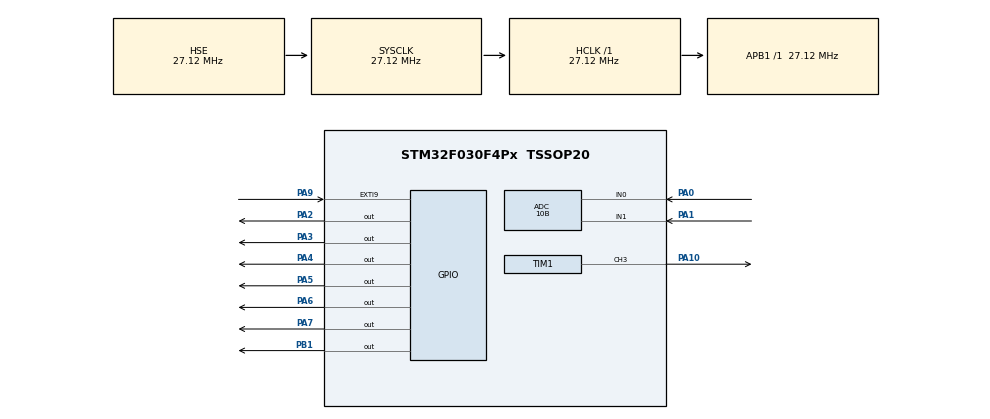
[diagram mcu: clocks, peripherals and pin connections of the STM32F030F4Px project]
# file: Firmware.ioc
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ADC.ClockPrescaler=ADC_CLOCK_SYNC_PCLK_DIV4
ADC.ContinuousConvMode=DISABLE
ADC.DMAContinuousRequests=DISABLE
ADC.DataAlign=ADC_DATAALIGN_RIGHT
ADC.DiscontinuousConvMode=DISABLE
ADC.EOCSelection=ADC_EOC_SINGLE_CONV
ADC.EnableAnalogWatchDog=false
ADC.ExternalTrigConv=ADC_SOFTWARE_START
ADC.ExternalTrigConvEdge=ADC_EXTERNALTRIGCONVEDGE_NONE
ADC.LowPowerAutoPowerOff=DISABLE
ADC.LowPowerAutoWait=DISABLE
ADC.Overrun=ADC_OVR_DATA_PRESERVED
ADC.Resolution=ADC_RESOLUTION_10B
ADC.SamplingTime=ADC_SAMPLETIME_71CYCLES_5
ADC.ScanConvMode=ADC_SCAN_DIRECTION_FORWARD
IWDG.Prescaler=IWDG_PRESCALER_4
IWDG.Reload=2048
Mcu.Family=STM32F0
Mcu.Name=STM32F030F4Px
Mcu.Package=TSSOP20
NVIC.EXTI4_15_IRQn=true\:3\:0\:true\:false\:true\:true
NVIC.TIM17_IRQn=true\:0\:0\:false\:false\:true\:true
PA0.Mode=IN0
PA0.Signal=ADC_IN0
PA1.Mode=IN1
PA1.Signal=ADC_IN1
PA10.GPIO_PuPd=GPIO_NOPULL
PA10.GPIO_Speed=GPIO_SPEED_FREQ_MEDIUM
PA10.Signal=S_TIM1_CH3
PA2.Signal=GPIO_Output
PA3.Signal=GPIO_Output
PA4.Signal=GPIO_Output
PA5.Signal=GPIO_Output
PA6.Signal=GPIO_Output
PA7.Signal=GPIO_Output
PA9.GPIO_ModeDefaultEXTI=GPIO_MODE_IT_RISING_FALLING
PA9.Signal=GPXTI9
PB1.Signal=GPIO_Output
PF0-OSC_IN.Mode=HSE-External-Oscillator
PF0-OSC_IN.Signal=RCC_OSC_IN
PF1-OSC_OUT.Mode=HSE-External-Oscillator
PF1-OSC_OUT.Signal=RCC_OSC_OUT
ProjectManager.HeapSize=0x200
ProjectManager.StackSize=0x400
ProjectManager.TargetToolchain=EWARM
RCC.AHBFreq_Value=27120000
RCC.APB1Freq_Value=27120000
RCC.APB1TimFreq_Value=27120000
RCC.EnbaleCSS=true
RCC.HCLKFreq_Value=27120000
RCC.HSE_VALUE=27120000
RCC.PLLSourceVirtual=RCC_PLLSOURCE_HSE
RCC.SYSCLKFreq_VALUE=27120000
RCC.SYSCLKSource=RCC_SYSCLKSOURCE_HSE
SH.S_TIM1_CH3.0=TIM1_CH3,PWM Generation3 CH3
TIM1.BreakPolarity=TIM_BREAKPOLARITY_HIGH
TIM1.BreakState=TIM_BREAK_ENABLE
TIM1.Channel-PWM\ Generation3\ CH3=TIM_CHANNEL_3
TIM1.LockLevel=TIM_LOCKLEVEL_3
TIM1.OCIdleState_3=TIM_OCIDLESTATE_RESET
TIM1.OCMode_PWM-PWM\ Generation3\ CH3=TIM_OCMODE_PWM2
TIM1.OCPolarity_3=TIM_OCPOLARITY_HIGH
TIM1.OffStateIDLEMode=TIM_OSSI_ENABLE
TIM1.OffStateRunMode=TIM_OSSR_DISABLE
TIM1.Period=1
TIM1.Pulse-PWM\ Generation3\ CH3=1
TIM17.Period=8135
TIM17.Prescaler=0
VP_IWDG_VS_IWDG.Mode=IWDG_Activate
VP_TIM17_VS_ClockSourceINT.Mode=Enable_Timer
VP_TIM17_VS_OPM.Mode=OPM_bit
board=Firmware

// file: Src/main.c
/**
  ******************************************************************************
  * @file           : main.c
  * @brief          : Main program body
  ******************************************************************************
  ** This notice applies to any and all portions of this file
  * that are not between comment pairs USER CODE BEGIN and
  * USER CODE END. Other portions of this file, whether
  * inserted by the user or by software development tools
  * are owned by their respective copyright owners.
  *
  * COPYRIGHT(c) 2018 STMicroelectronics
  *
  * Redistribution and use in source and binary forms, with or without modification,
  * are permitted provided that the following conditions are met:
  *   1. Redistributions of source code must retain the above copyright notice,
  *      this list of conditions and the following disclaimer.
  *   2. Redistributions in binary form must reproduce the above copyright notice,
  *      this list of conditions and the following disclaimer in the documentation
  *      and/or other materials provided with the distribution.
  *   3. Neither the name of STMicroelectronics nor the names of its contributors
  *      may be used to endorse or promote products derived from this software
  *      without specific prior written permission.
  *
  * THIS SOFTWARE IS PROVIDED BY THE COPYRIGHT HOLDERS AND CONTRIBUTORS "AS IS"
  * AND ANY EXPRESS OR IMPLIED WARRANTIES, INCLUDING, BUT NOT LIMITED TO, THE
  * IMPLIED WARRANTIES OF MERCHANTABILITY AND FITNESS FOR A PARTICULAR PURPOSE ARE
  * DISCLAIMED. IN NO EVENT SHALL THE COPYRIGHT HOLDER OR CONTRIBUTORS BE LIABLE
  * FOR ANY DIRECT, INDIRECT, INCIDENTAL, SPECIAL, EXEMPLARY, OR CONSEQUENTIAL
  * DAMAGES (INCLUDING, BUT NOT LIMITED TO, PROCUREMENT OF SUBSTITUTE GOODS OR
  * SERVICES; LOSS OF USE, DATA, OR PROFITS; OR BUSINESS INTERRUPTION) HOWEVER
  * CAUSED AND ON ANY THEORY OF LIABILITY, WHETHER IN CONTRACT, STRICT LIABILITY,
  * OR TORT (INCLUDING NEGLIGENCE OR OTHERWISE) ARISING IN ANY WAY OUT OF THE USE
  * OF THIS SOFTWARE, EVEN IF ADVISED OF THE POSSIBILITY OF SUCH DAMAGE.
  *
  ******************************************************************************
  */
#include "main.h"
#include "stm32f0xx_hal.h"

/* USER CODE BEGIN Includes */
#include "lcd.h"
/* USER CODE END Includes */

ADC_HandleTypeDef hadc;

IWDG_HandleTypeDef hiwdg;

TIM_HandleTypeDef htim1;
TIM_HandleTypeDef htim17;

/* USER CODE BEGIN PV */
/* Private variables ---------------------------------------------------------*/

#define TIP_DISABLED            -1
#define TIP_DELAY               100 // ms
#define IWDG_REFRESH_DELAY      100 // ms
#define LED_REFRESH_DELAY       300 // ms
#define HELLO_DELAY             1000 // ms
#define X_RES                   5 // char columns
#define Y_RES                   8 // char rows
#define BAR_LENGTH              14 // chars
#define POWER_THRESHOLD         400000 // ~0.4W/measurement

uint32_t hal_tick = 0;
uint32_t hal_tick_prev = 0;
uint32_t voltage = 0;
uint32_t current = 0;
int32_t power = 0;
int32_t power_prev = 0;
int32_t tip_delay = TIP_DISABLED;

/* USER CODE END PV */

void SystemClock_Config(void);
static void MX_GPIO_Init(void);
static void MX_ADC_Init(void);
static void MX_TIM1_Init(void);
static void MX_IWDG_Init(void);
static void MX_TIM17_Init(void);

void HAL_TIM_MspPostInit(TIM_HandleTypeDef *htim);

/* USER CODE BEGIN PFP */
/* Private function prototypes -----------------------------------------------*/

/* USER CODE END PFP */

/* USER CODE BEGIN 0 */
//==================================================================================================
void HAL_GPIO_EXTI_Callback(uint16_t GPIO_Pin)
{
  if( GPIO_Pin & GPIO_PIN_9 )
  {
    CLEAR_BIT( EXTI->IMR, GPIO_PIN_9 ); // temporarily disable EXTI line to avoid tip detector glitches
    __HAL_GPIO_EXTI_CLEAR_IT( GPIO_PIN_9 ); //clear pending interrupt request, if exists

    HAL_TIM_Base_Start_IT( &htim17 ); //start one-shot debouncing timer
  }
}

//==================================================================================================
void HAL_TIM_PeriodElapsedCallback(TIM_HandleTypeDef *htim)
{
  if( htim->Instance == TIM17 )
  {
    if( HAL_GPIO_ReadPin(GPIOA, GPIO_PIN_9) == GPIO_PIN_RESET ) // tip disconnected
    {
      //HAL_TIM_PWM_Stop cannot be used here
      //because it switches TIM1 output to the noise sensitive 3-rd state
      __HAL_TIM_MOE_DISABLE_UNCONDITIONALLY( &htim1 ); // stop RF generator immediately
      tip_delay = TIP_DISABLED;
    }
    else
      if( tip_delay == TIP_DISABLED ) // avoid restart of the running generator
        tip_delay = TIP_DELAY; // schedule RF generator startup

    SET_BIT( EXTI->IMR, GPIO_PIN_9 ); // enable EXTI line
  }
}

//==================================================================================================
void HAL_RCC_CSSCallback(void)
{
  _Error_Handler(__FILE__, __LINE__); // restart on crystal failure
}

//==================================================================================================
/* USER CODE END 0 */

int main(void)
{

  /* MCU Configuration----------------------------------------------------------*/

  /* Reset of all peripherals, Initializes the Flash interface and the Systick. */
  HAL_Init();

  /* Configure the system clock */
  SystemClock_Config();

  /* Initialize all configured peripherals */
  MX_GPIO_Init();
  MX_ADC_Init();
  MX_TIM1_Init();
  MX_IWDG_Init();
  MX_TIM17_Init();
  /* USER CODE BEGIN 2 */

  __HAL_TIM_CLEAR_FLAG( &htim17, TIM_FLAG_UPDATE ); // clear pending timer update interrupt
  __HAL_SYSCFG_BREAK_LOCKUP_LOCK(); // break TIM1 on MCU lockup
  __HAL_SYSCFG_BREAK_SRAMPARITY_LOCK(); // break TIM1 on RAM parity error

  oled_init();
  lcd_clear();

  lcd_position( 0x00 ); // Hello, world!
  lcd_prints( "Soldering System" );
  lcd_position( 0x40 );
  lcd_prints( " ChBRR (C) 2018 " );

  HAL_IWDG_Refresh( &hiwdg );

  for( unsigned int i = 0; i < HELLO_DELAY / IWDG_REFRESH_DELAY; i++ )
  {
    HAL_Delay( IWDG_REFRESH_DELAY );
    HAL_IWDG_Refresh( &hiwdg );
  }

  if( HAL_ADCEx_Calibration_Start( &hadc ) != HAL_OK )
    _Error_Handler(__FILE__, __LINE__);

  lcd_command( 0x48 ); // uploading custom 5x8 fonts into the CGRAM with base address 08
  uint8_t dots = 0;

  // char(1) means |, char(2) means ||, and so on up to char(X_RES)
  for( int x = 0; x < X_RES; x++ )
  {
    dots += 1 << (X_RES - 1 - x);

    for( int y = 0; y < Y_RES; y++ )
      lcd_printc( dots );
  }

  lcd_position( 0x00 ); // switch back to the DDRAM

  if( HAL_GPIO_ReadPin(GPIOA, GPIO_PIN_9) == GPIO_PIN_SET ) // tip is connected
  {
    tip_delay = 0;
    HAL_TIM_PWM_Start( &htim1, TIM_CHANNEL_3 ); // enable RF generator
  }
  /* USER CODE END 2 */

  /* Infinite loop */
  while (1)
  {

  /* USER CODE BEGIN 3 */
    do
    {
      HAL_PWR_EnterSLEEPMode( 0, PWR_SLEEPENTRY_WFI );
      hal_tick = HAL_GetTick();
    }
    while( hal_tick == hal_tick_prev ); // avoid same tick reentrance

    hal_tick_prev = hal_tick;

//    if( hal_tick % 200 == 0)
//      HAL_TIM_PWM_Start( &htim1, TIM_CHANNEL_3 ); // enable RF generator after delay
//
//    if( hal_tick % 73 == 0)
//      HAL_TIM_PWM_Stop( &htim1, TIM_CHANNEL_3 ); // stop RF generator immediately

    if( hal_tick % IWDG_REFRESH_DELAY == 0 )
    {
      HAL_IWDG_Refresh( &hiwdg );
#ifndef OLED_EASTRISING // Pin used for reset line
      HAL_GPIO_TogglePin( GPIOB, GPIO_PIN_1 ); //heartbeat just for fun
#endif
    }

    if( tip_delay > 0 )
    {
      tip_delay--;

      if( tip_delay == 0 )
        HAL_TIM_PWM_Start( &htim1, TIM_CHANNEL_3 ); // enable RF generator after delay
    }

    if( hal_tick % LED_REFRESH_DELAY == 0 )
    {
      if( tip_delay != 0 )
      {
        lcd_position( 0x00 );
        lcd_prints( "   TIP FAILED   " );
        lcd_position( 0x40 );
        lcd_prints( "                " );

        continue;
      }

      if( HAL_ADC_Start( &hadc ) != HAL_OK )
        _Error_Handler(__FILE__, __LINE__);

      if( HAL_ADC_PollForConversion(&hadc, 10) == HAL_OK ) // 10-bit precision
        current = HAL_ADC_GetValue( &hadc );
      else
        _Error_Handler(__FILE__, __LINE__);

      if( HAL_ADC_PollForConversion(&hadc, 10) == HAL_OK ) // 10-bit precision
        voltage = HAL_ADC_GetValue( &hadc );
      else
        _Error_Handler(__FILE__, __LINE__);

      power = voltage * current * 33 * 5; // full scale up to 33V*5A = 165W

      lcd_position( 0x00 );
      if( power - power_prev > POWER_THRESHOLD )
        lcd_prints( "      POWER \x7e   " );
      else
        lcd_prints( "      READY     " );
      power_prev = power;

      lcd_position( 0x4e ); // digits
      lcd_printd2( power >> 20 ); // 10+10 bit removed

      power = power * 7; // 70 power lines
      power = power / 9; // for 90 W
      power = power >> 20;

      lcd_position( 0x40 ); // bar graph

      for( int x = 0; x < BAR_LENGTH; x++ )
      {
        if( power <= 0 )
          lcd_printc( ' ' );

        if( power > 0 && power <= X_RES )
          lcd_printc( (uint8_t)power );

        if( power > X_RES)
          lcd_printc( X_RES );

        power -= X_RES;
      }
    }
  }
  /* USER CODE END 3 */

}

void SystemClock_Config(void)
{

  RCC_OscInitTypeDef RCC_OscInitStruct;
  RCC_ClkInitTypeDef RCC_ClkInitStruct;

    /**Initializes the CPU, AHB and APB busses clocks
    */
  RCC_OscInitStruct.OscillatorType = RCC_OSCILLATORTYPE_LSI|RCC_OSCILLATORTYPE_HSE;
  RCC_OscInitStruct.HSEState = RCC_HSE_ON;
  RCC_OscInitStruct.LSIState = RCC_LSI_ON;
  RCC_OscInitStruct.PLL.PLLState = RCC_PLL_NONE;
  if (HAL_RCC_OscConfig(&RCC_OscInitStruct) != HAL_OK)
  {
    _Error_Handler(__FILE__, __LINE__);
  }

    /**Initializes the CPU, AHB and APB busses clocks
    */
  RCC_ClkInitStruct.ClockType = RCC_CLOCKTYPE_HCLK|RCC_CLOCKTYPE_SYSCLK
                              |RCC_CLOCKTYPE_PCLK1;
  RCC_ClkInitStruct.SYSCLKSource = RCC_SYSCLKSOURCE_HSE;
  RCC_ClkInitStruct.AHBCLKDivider = RCC_SYSCLK_DIV1;
  RCC_ClkInitStruct.APB1CLKDivider = RCC_HCLK_DIV1;

  if (HAL_RCC_ClockConfig(&RCC_ClkInitStruct, FLASH_LATENCY_1) != HAL_OK)
  {
    _Error_Handler(__FILE__, __LINE__);
  }

    /**Enables the Clock Security System
    */
  HAL_RCC_EnableCSS();

    /**Configure the Systick interrupt time
    */
  HAL_SYSTICK_Config(HAL_RCC_GetHCLKFreq()/1000);

    /**Configure the Systick
    */
  HAL_SYSTICK_CLKSourceConfig(SYSTICK_CLKSOURCE_HCLK);

  /* SysTick_IRQn interrupt configuration */
  HAL_NVIC_SetPriority(SysTick_IRQn, 0, 0);
}

/* ADC init function */
static void MX_ADC_Init(void)
{

  ADC_ChannelConfTypeDef sConfig;

    /**Configure the global features of the ADC (Clock, Resolution, Data Alignment and number of conversion)
    */
  hadc.Instance = ADC1;
  hadc.Init.ClockPrescaler = ADC_CLOCK_SYNC_PCLK_DIV4;
  hadc.Init.Resolution = ADC_RESOLUTION_10B;
  hadc.Init.DataAlign = ADC_DATAALIGN_RIGHT;
  hadc.Init.ScanConvMode = ADC_SCAN_DIRECTION_FORWARD;
  hadc.Init.EOCSelection = ADC_EOC_SINGLE_CONV;
  hadc.Init.LowPowerAutoWait = DISABLE;
  hadc.Init.LowPowerAutoPowerOff = DISABLE;
  hadc.Init.ContinuousConvMode = DISABLE;
  hadc.Init.DiscontinuousConvMode = DISABLE;
  hadc.Init.ExternalTrigConv = ADC_SOFTWARE_START;
  hadc.Init.ExternalTrigConvEdge = ADC_EXTERNALTRIGCONVEDGE_NONE;
  hadc.Init.DMAContinuousRequests = DISABLE;
  hadc.Init.Overrun = ADC_OVR_DATA_PRESERVED;
  if (HAL_ADC_Init(&hadc) != HAL_OK)
  {
    _Error_Handler(__FILE__, __LINE__);
  }

    /**Configure for the selected ADC regular channel to be converted.
    */
  sConfig.Channel = ADC_CHANNEL_0;
  sConfig.Rank = ADC_RANK_CHANNEL_NUMBER;
  sConfig.SamplingTime = ADC_SAMPLETIME_71CYCLES_5;
  if (HAL_ADC_ConfigChannel(&hadc, &sConfig) != HAL_OK)
  {
    _Error_Handler(__FILE__, __LINE__);
  }

    /**Configure for the selected ADC regular channel to be converted.
    */
  sConfig.Channel = ADC_CHANNEL_1;
  if (HAL_ADC_ConfigChannel(&hadc, &sConfig) != HAL_OK)
  {
    _Error_Handler(__FILE__, __LINE__);
  }

}

/* IWDG init function */
static void MX_IWDG_Init(void)
{

  hiwdg.Instance = IWDG;
  hiwdg.Init.Prescaler = IWDG_PRESCALER_4;
  hiwdg.Init.Window = 4095;
  hiwdg.Init.Reload = 2048;
  if (HAL_IWDG_Init(&hiwdg) != HAL_OK)
  {
    _Error_Handler(__FILE__, __LINE__);
  }

}

/* TIM1 init function */
static void MX_TIM1_Init(void)
{

  TIM_MasterConfigTypeDef sMasterConfig;
  TIM_OC_InitTypeDef sConfigOC;
  TIM_BreakDeadTimeConfigTypeDef sBreakDeadTimeConfig;

  htim1.Instance = TIM1;
  htim1.Init.Prescaler = 0;
  htim1.Init.CounterMode = TIM_COUNTERMODE_UP;
  htim1.Init.Period = 1;
  htim1.Init.ClockDivision = TIM_CLOCKDIVISION_DIV1;
  htim1.Init.RepetitionCounter = 0;
  htim1.Init.AutoReloadPreload = TIM_AUTORELOAD_PRELOAD_DISABLE;
  if (HAL_TIM_PWM_Init(&htim1) != HAL_OK)
  {
    _Error_Handler(__FILE__, __LINE__);
  }

  sMasterConfig.MasterOutputTrigger = TIM_TRGO_RESET;
  sMasterConfig.MasterSlaveMode = TIM_MASTERSLAVEMODE_DISABLE;
  if (HAL_TIMEx_MasterConfigSynchronization(&htim1, &sMasterConfig) != HAL_OK)
  {
    _Error_Handler(__FILE__, __LINE__);
  }

  sConfigOC.OCMode = TIM_OCMODE_PWM2;
  sConfigOC.Pulse = 1;
  sConfigOC.OCPolarity = TIM_OCPOLARITY_HIGH;
  sConfigOC.OCNPolarity = TIM_OCNPOLARITY_HIGH;
  sConfigOC.OCFastMode = TIM_OCFAST_DISABLE;
  sConfigOC.OCIdleState = TIM_OCIDLESTATE_RESET;
  sConfigOC.OCNIdleState = TIM_OCNIDLESTATE_RESET;
  if (HAL_TIM_PWM_ConfigChannel(&htim1, &sConfigOC, TIM_CHANNEL_3) != HAL_OK)
  {
    _Error_Handler(__FILE__, __LINE__);
  }

  sBreakDeadTimeConfig.OffStateRunMode = TIM_OSSR_DISABLE;
  sBreakDeadTimeConfig.OffStateIDLEMode = TIM_OSSI_ENABLE;
  sBreakDeadTimeConfig.LockLevel = TIM_LOCKLEVEL_3;
  sBreakDeadTimeConfig.DeadTime = 0;
  sBreakDeadTimeConfig.BreakState = TIM_BREAK_ENABLE;
  sBreakDeadTimeConfig.BreakPolarity = TIM_BREAKPOLARITY_HIGH;
  sBreakDeadTimeConfig.AutomaticOutput = TIM_AUTOMATICOUTPUT_DISABLE;
  if (HAL_TIMEx_ConfigBreakDeadTime(&htim1, &sBreakDeadTimeConfig) != HAL_OK)
  {
    _Error_Handler(__FILE__, __LINE__);
  }

  HAL_TIM_MspPostInit(&htim1);

}

/* TIM17 init function */
static void MX_TIM17_Init(void)
{

  htim17.Instance = TIM17;
  htim17.Init.Prescaler = 0;
  htim17.Init.CounterMode = TIM_COUNTERMODE_UP;
  htim17.Init.Period = 8135;
  htim17.Init.ClockDivision = TIM_CLOCKDIVISION_DIV1;
  htim17.Init.RepetitionCounter = 0;
  htim17.Init.AutoReloadPreload = TIM_AUTORELOAD_PRELOAD_DISABLE;
  if (HAL_TIM_Base_Init(&htim17) != HAL_OK)
  {
    _Error_Handler(__FILE__, __LINE__);
  }

  if (HAL_TIM_OnePulse_Init(&htim17, TIM_OPMODE_SINGLE) != HAL_OK)
  {
    _Error_Handler(__FILE__, __LINE__);
  }

}

/** Configure pins as
        * Analog
        * Input
        * Output
        * EVENT_OUT
        * EXTI
*/
static void MX_GPIO_Init(void)
{

  GPIO_InitTypeDef GPIO_InitStruct;

  /* GPIO Ports Clock Enable */
  __HAL_RCC_GPIOF_CLK_ENABLE();
  __HAL_RCC_GPIOA_CLK_ENABLE();
  __HAL_RCC_GPIOB_CLK_ENABLE();

  /*Configure GPIO pin Output Level */
  HAL_GPIO_WritePin(GPIOA, GPIO_PIN_2|GPIO_PIN_3|GPIO_PIN_4|GPIO_PIN_5
                          |GPIO_PIN_6|GPIO_PIN_7, GPIO_PIN_RESET);

  /*Configure GPIO pin Output Level */
  HAL_GPIO_WritePin(GPIOB, GPIO_PIN_1, GPIO_PIN_RESET);

  /*Configure GPIO pins : PA2 PA3 PA4 PA5
                           PA6 PA7 */
  GPIO_InitStruct.Pin = GPIO_PIN_2|GPIO_PIN_3|GPIO_PIN_4|GPIO_PIN_5
                          |GPIO_PIN_6|GPIO_PIN_7;
  GPIO_InitStruct.Mode = GPIO_MODE_OUTPUT_PP;
  GPIO_InitStruct.Pull = GPIO_NOPULL;
  GPIO_InitStruct.Speed = GPIO_SPEED_FREQ_LOW;
  HAL_GPIO_Init(GPIOA, &GPIO_InitStruct);

  /*Configure GPIO pin : PB1 */
  GPIO_InitStruct.Pin = GPIO_PIN_1;
  GPIO_InitStruct.Mode = GPIO_MODE_OUTPUT_PP;
  GPIO_InitStruct.Pull = GPIO_NOPULL;
  GPIO_InitStruct.Speed = GPIO_SPEED_FREQ_LOW;
  HAL_GPIO_Init(GPIOB, &GPIO_InitStruct);

  /*Configure GPIO pin : PA9 */
  GPIO_InitStruct.Pin = GPIO_PIN_9;
  GPIO_InitStruct.Mode = GPIO_MODE_IT_RISING_FALLING;
  GPIO_InitStruct.Pull = GPIO_NOPULL;
  HAL_GPIO_Init(GPIOA, &GPIO_InitStruct);

  /* EXTI interrupt init*/
  HAL_NVIC_SetPriority(EXTI4_15_IRQn, 3, 0);
  HAL_NVIC_EnableIRQ(EXTI4_15_IRQn);

}

void _Error_Handler(char *file, int line)
{
  /* USER CODE BEGIN Error_Handler_Debug */
  /* User can add his own implementation to report the HAL error return state */

  NVIC_SystemReset();

  /* USER CODE END Error_Handler_Debug */
}

#ifdef  USE_FULL_ASSERT
/**
  * @brief  Reports the name of the source file and the source line number
  *         where the assert_param error has occurred.
  * @param  file: pointer to the source file name
  * @param  line: assert_param error line source number
  * @retval None
  */
void assert_failed(uint8_t* file, uint32_t line)
{
  /* USER CODE BEGIN 6 */
  /* User can add his own implementation to report the file name and line number,
    ex: printf("Wrong parameters value: file %s on line %d\r\n", file, line) */

  _Error_Handler( file, line );

  /* USER CODE END 6 */
}
#endif /* USE_FULL_ASSERT */

/************************ (C) COPYRIGHT STMicroelectronics *****END OF FILE****/
